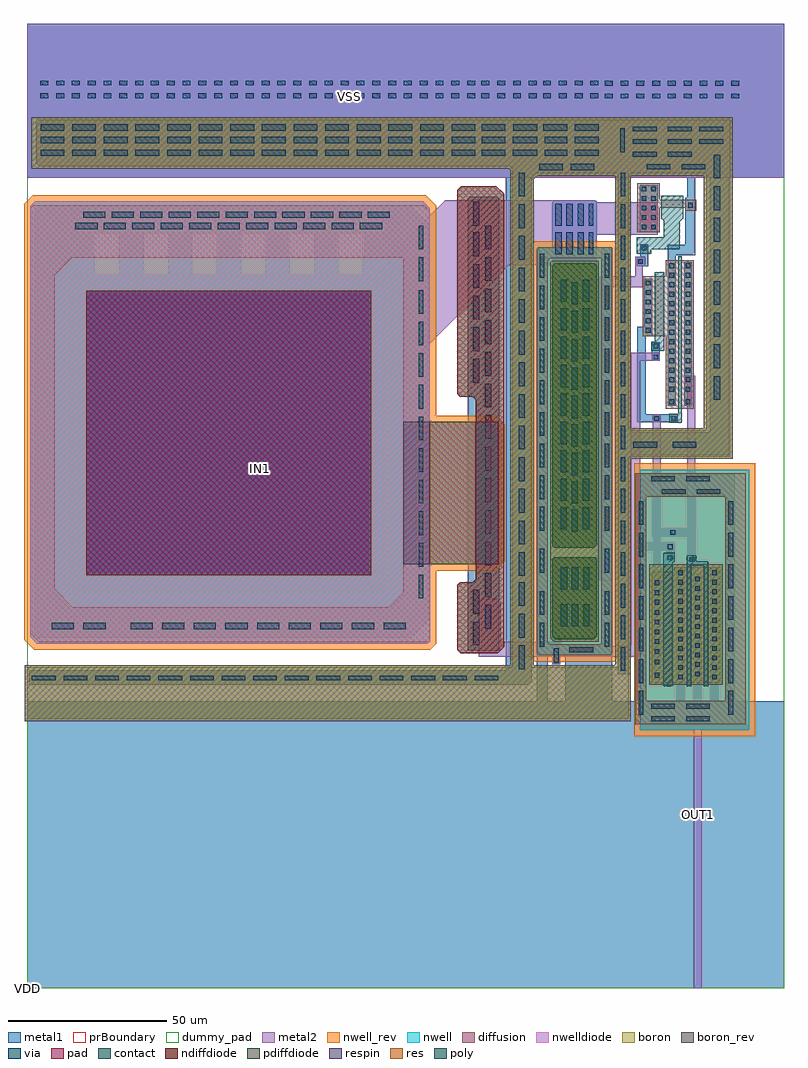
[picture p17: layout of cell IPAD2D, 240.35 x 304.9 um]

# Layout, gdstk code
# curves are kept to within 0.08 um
import gdstk
lib = gdstk.Library(unit=1e-6, precision=1e-09)
def R(c, l, rs):  # rectangles x0, y0, x1, y1
    for r in rs: c.add(gdstk.rectangle(r[:2], r[2:], *l))
def A(c, l, x, y, w, h, nx, ny, dx, dy):  # array of equal rectangles
    R(c, l, [(x+i*dx, y+j*dy, x+i*dx+w, y+j*dy+h) for i in range(nx) for j in range(ny)])
def P(c, l, *ps):  # polygons
    for p in ps: c.add(gdstk.Polygon(p, *l))
nwell = (1, 0)
diffusion = (2, 0)
nwell_rev = (3, 0)
poly = (4, 0)
boron = (5, 0)
boron_rev = (6, 0)
contact = (7, 0)
metal1 = (8, 0)
via = (9, 0)
metal2 = (10, 0)
pad = (11, 0)
prBoundary = (28, 0)
res = (35, 0)
respin = (36, 0)
pdiffdiode = (37, 0)
nwelldiode = (38, 0)
ndiffdiode = (39, 0)
dummy_pad = (40, 0)

ipad2d = lib.new_cell('IPAD2D')
R(ipad2d, nwell, [(194,81.7,228.35,163.95)])
P(ipad2d, nwell, [(161.5,105.25),(161.15,105.6),(161.15,233.95),(161.45,234.25),(185,234.25),(185.15,234.1),(185.15,105.6),(184.8,105.25)],
  [(3.15,108.95),(1.05,111.05),(1.05,247.25),(2.6,248.8),(125.25,248.8),(127.4,246.65),(127.4,179.652),(128.002,179.05),(147.45,179.05),(149.1,177.4),(149.1,135.7),(147.45,134.05),(128.058,134.05),(127.45,133.442),(127.45,109.75),(126.65,108.95)])
P(ipad2d, diffusion, [(0,85.15),(0,101.45),(153.45,101.45),(153.45,259.248),(152.848,259.85),(3.814,259.85),(2.85,260.814),(2.85,273.45),(4.05,274.65),(186.75,274.65),(186.75,257.65),(160.704,257.65),(159.55,256.496),(159.552,101.45),(186.295,101.45),(186.75,101.905),(186.75,274.65),(188.9,274.65),(190.25,273.3),(190.25,85.15)],
  [(3.95,109.3),(1.05,112.2),(1.05,246.563),(2.037,247.55),(119,247.55),(119,231),(14.214,231),(8.7,225.486),(8.7,126.204),(14.404,120.5),(114.449,120.5),(119,125.051),(119,247.55),(125.563,247.55),(127.35,245.763),(127.35,109.952),(126.698,109.3)],
  [(137.101,105.95),(136.1,106.951),(136.1,127.549),(136.951,128.4),(140.987,128.4),(141.85,129.263),(141.85,185.999),(140.849,187),(136.906,187),(136,187.906),(136,252.285),(137.365,253.65),(148.4,253.65),(150.9,251.15),(150.9,108.002),(148.848,105.95)],
  [(162.101,105.25),(161.15,106.201),(161.15,233.344),(162.056,234.25),(181.65,234.25),(181.65,230.75),(165.536,230.75),(164.65,229.864),(164.65,109.515),(165.415,108.75),(181.395,108.75),(181.65,109.005),(181.65,234.25),(184.95,234.25),(185.15,234.05),(185.15,106.052),(184.348,105.25)],
  [(192.4,83.4),(192.4,162.8),(220.8,162.8),(220.8,155.3),(195.9,155.3),(195.9,90.9),(220.8,90.9),(220.8,162.8),(227.3,162.8),(227.3,83.4)],
  [(197.5,96.6),(197.5,131.6),(204.7,131.6),(204.7,133.1),(219.2,133.1),(219.2,96.6)],
  [(167.105,110.25),(166.15,111.205),(166.15,135.6),(166.8,136.25),(179.65,136.25),(180.15,135.75),(180.15,111.15),(179.25,110.25)],
  [(193.05,238.95),(193.05,254.45),(200.1,254.45),(200.1,249.3),(211.6,249.3),(211.6,245.8),(208.1,245.8),(208.1,246.8),(200.1,246.8),(200.1,238.95)],
  [(166.752,139.25),(166.15,139.852),(166.15,228.35),(167.05,229.25),(179.448,229.25),(180.15,228.548),(180.15,140.156),(179.244,139.25)],
  [(190.25,168.05),(190.25,176.35),(214.75,176.35),(214.75,257.65),(182.35,257.65),(182.35,274.65),(222.45,274.65),(222.45,168.05)],
  [(201.95,183.15),(201.95,206.15),(194.75,206.15),(194.75,225.15),(201.95,225.15),(201.95,230.15),(210.8,230.15),(210.8,183.15)])
R(ipad2d, nwell_rev, [(192,79.7,230.35,165.95)])
P(ipad2d, nwell_rev, [(160.672,103.25),(159.15,104.772),(159.15,234.778),(160.622,236.25),(185.828,236.25),(187.15,234.928),(187.15,104.772),(185.628,103.25)],
  [(2.322,106.95),(-0.95,110.222),(-0.95,248.078),(1.772,250.8),(126.078,250.8),(129.4,247.478),(129.4,181.05),(148.278,181.05),(151.1,178.228),(151.1,134.872),(148.278,132.05),(129.45,132.05),(129.45,108.922),(127.478,106.95)])
P(ipad2d, poly, [(208.6,95.4),(208.6,136.95),(211.7,136.95),(211.7,135),(215.5,135),(215.5,95.4),(214,95.4),(214,133.6),(210.1,133.6),(210.1,95.4)],
  [(201.2,95.4),(201.2,137.6),(204.9,137.6),(204.9,134.7),(204.2,134.7),(204.2,95.4)],
  [(203.1,178.7),(203.1,181.6),(205.9,181.6),(205.9,231.4),(207.1,231.4),(207.1,178.7)],
  [(197.45,201.55),(197.45,204.45),(198.45,204.45),(198.45,226.4),(201.45,226.4),(201.45,201.55)],
  [(192.8,232.3),(192.8,237.5),(201.35,237.5),(201.35,242.7),(200.6,243.35),(200.6,250.5),(207.6,250.5),(207.6,243.35),(207.45,243.35),(206.45,242.35),(206.45,233.6),(197.45,233.6),(197.45,232.3)])
R(ipad2d, boron, [(196.8,95.9,220,133.95)])
P(ipad2d, boron, [(166.6,109.55),(165.45,110.7),(165.45,229.5),(165.9,229.95),(180.85,229.95),(180.85,109.55)],
  [(-0.7,84.45),(-0.7,102.15),(152.75,102.15),(152.75,258.6),(152.2,259.15),(1.4,259.15),(1.4,275.45),(186.05,275.45),(186.05,256.95),(161.451,256.95),(160.25,255.749),(160.25,102.15),(185.7,102.15),(186.05,102.5),(186.05,275.45),(190.95,275.45),(190.95,84.45)],
  [(189.55,167.35),(189.55,177.1),(214.05,177.1),(214.05,256.95),(179.9,256.95),(179.9,275.45),(223.2,275.45),(223.2,167.35)])
R(ipad2d, boron_rev, [(196.8,95.9,220,133.95)])
P(ipad2d, boron_rev, [(166.6,109.55),(165.45,110.7),(165.45,229.5),(165.9,229.95),(180.85,229.95),(180.85,109.55)],
  [(-0.7,84.45),(-0.7,102.15),(152.75,102.15),(152.75,258.6),(152.2,259.15),(1.4,259.15),(1.4,275.45),(186.05,275.45),(186.05,256.95),(161.451,256.95),(160.25,255.749),(160.25,102.15),(185.7,102.15),(186.05,102.5),(186.05,275.45),(190.95,275.45),(190.95,84.45)],
  [(189.55,167.35),(189.55,177.1),(214.05,177.1),(214.05,256.95),(179.9,256.95),(179.9,275.45),(223.2,275.45),(223.2,167.35)])
A(ipad2d, contact, 193.4, 86.45, 1.5, 7.5, 1, 7, 0, 10)
A(ipad2d, contact, 221.8, 86.45, 1.5, 7.5, 1, 7, 0, 10)
A(ipad2d, contact, 1.55, 97.3, 7.5, 1.5, 15, 1, 10, 0)
A(ipad2d, contact, 205.9, 97.6, 1.5, 1.5, 1, 12, 0, 3)
A(ipad2d, contact, 216.7, 97.6, 1.5, 1.5, 1, 12, 0, 3)
A(ipad2d, contact, 187.75, 100.35, 1.5, 7.5, 1, 16, 0, 10)
A(ipad2d, contact, 155.45, 100.85, 2, 7.5, 1, 3, 0, 10)
A(ipad2d, contact, 211.3, 110.6, 1.5, 1.5, 1, 7, 0, 3)
A(ipad2d, contact, 32.75, 113.55, 7, 2, 9, 1, 10, 0)
A(ipad2d, contact, 168.85, 114.4, 2, 7, 3, 2, 3.5, 11.75)
A(ipad2d, contact, 123.85, 123.25, 1.5, 7.5, 1, 10, 0, 10)
A(ipad2d, contact, 144.85, 123.65, 2, 7.5, 1, 12, 0, 10)
A(ipad2d, contact, 155.45, 130.35, 2, 7.5, 1, 13, 0, 10)
A(ipad2d, contact, 172.25, 144.25, 2, 7, 1, 9, 0, 9)
A(ipad2d, contact, 162.15, 144.65, 1.5, 7.5, 1, 9, 0, 10)
A(ipad2d, contact, 182.65, 144.65, 1.5, 7.5, 1, 9, 0, 10)
A(ipad2d, contact, 168.75, 145.05, 2, 7, 1, 9, 0, 9)
A(ipad2d, contact, 175.75, 145.05, 2, 7, 1, 9, 0, 9)
A(ipad2d, contact, 217.25, 186.05, 2, 7.5, 1, 8, 0, 10)
A(ipad2d, contact, 203.15, 188.65, 1.5, 1.5, 1, 14, 0, 3)
A(ipad2d, contact, 141.05, 191.45, 2, 7.5, 1, 5, 0, 10)
A(ipad2d, contact, 208.3, 194.65, 1.5, 1.5, 1, 12, 0, 3)
A(ipad2d, contact, 195.75, 207.25, 1.5, 1.5, 1, 6, 0, 3)
A(ipad2d, contact, 15.3, 240.05, 7, 2, 11, 1, 9, 0)
A(ipad2d, contact, 17.8, 243.55, 7, 2, 10, 1, 9, 0)
A(ipad2d, contact, 191.6, 262.95, 7.5, 1.5, 1, 3, 0, 4)
A(ipad2d, contact, 202.65, 262.95, 7.5, 1.5, 1, 3, 0, 4)
A(ipad2d, contact, 4.3, 263.15, 7.5, 2, 14, 3, 10, 4)
A(ipad2d, contact, 143.8, 263.15, 7.5, 2, 1, 3, 0, 4)
A(ipad2d, contact, 173.3, 263.15, 7.5, 2, 1, 3, 0, 4)
R(ipad2d, contact, [(197.4,84.4,204.9,85.9), (208.45,84.4,215.95,85.9), (197.4,88.4,204.9,89.9), (208.45,88.4,215.95,89.9), (198.5,98.2,200,99.7), (211.3,98.6,212.8,100.1), (211.3,101.6,212.8,103.1), (198.5,102.4,200,103.9), (198.5,105.65,200,107.15), (171.55,106.25,179.05,107.75), (162.15,108,163.65,115.5), (182.65,108,184.15,115.5), (141.05,108.4,143.05,115.9), (198.5,108.85,200,110.35), (198.5,111.85,200,113.35), (7.85,113.55,14.85,115.55), (17.85,113.55,24.85,115.55), (198.5,115.05,200,116.55), (162.15,118,163.65,125.5), (182.65,118,184.15,125.5), (198.5,118.05,200,119.55), (141.05,118.45,143.05,125.95), (198.5,121.25,200,122.75), (198.5,124.25,200,125.75), (198.5,127.45,200,128.95), (162.15,131.4,163.65,138.9), (209.5,134.75,211,136.25), (202.7,135.4,204.2,136.9), (200.75,156.3,208.25,157.8), (211.8,156.3,219.3,157.8), (197.4,160.3,204.9,161.8), (208.45,160.3,215.95,161.8), (191.75,170.8,199.25,172.8), (204.2,170.8,211.7,172.8), (203.8,179.4,205.3,180.9), (203.15,184.7,204.65,186.2), (208.3,184.7,209.8,186.2), (208.3,188.65,209.8,190.15), (198.15,202.25,199.65,203.75), (123.85,223.6,125.35,231.1), (194.45,233.3,195.95,234.8), (123.85,233.6,125.35,241.1), (141.05,241.15,143.05,248.65), (194.4,242.95,195.9,244.45), (197.4,242.95,198.9,244.45), (107.8,243.55,114.7,245.55), (209.1,246.8,210.6,248.3), (194.4,248.95,195.9,250.45), (197.4,248.95,198.9,250.45), (194.4,251.95,195.9,253.45), (197.4,251.95,198.9,253.45), (161.95,258.65,169.45,260.65), (171.95,258.65,179.45,260.65), (196,258.95,203.5,260.45), (207.05,258.95,214.55,260.45), (153.65,263.15,161.3,265.15), (163.8,263.15,170.8,265.15), (187.6,264.35,189.1,271.85), (212.65,266.95,220.15,268.45), (153.65,267.15,161.3,269.15), (163.8,267.15,170.8,269.15), (212.65,270.95,220.15,272.45), (153.8,271.15,161.3,273.15), (163.3,271.15,170.8,273.15)])
R(ipad2d, metal1, [(0,0,239.4,90.7), (0,0,239.4,90.7), (192.9,85.95,195.4,162.3), (205.4,87.6,207.9,132.6), (216.2,87.6,218.7,132.6), (210.8,98.1,213.3,131), (202.2,134.9,204.7,140.8), (207.8,184.15,210.3,229.65), (197.65,198.35,200.15,204.25), (193.75,239,199.4,253.95), (0,256.2,239.4,304.9), (0,256.2,239.4,304.9)])
P(ipad2d, metal1, [(0.75,95.85),(0.75,100.5),(151.35,100.5),(151.35,256.2),(0,256.2),(0,304.9),(239.4,304.9),(239.4,256.2),(190.95,256.2),(190.95,99.3),(190.85,99.2),(186.85,99.2),(186.75,99.3),(186.75,255.344),(185.894,256.2),(160.252,256.2),(159.55,255.498),(159.55,97.066),(158.334,95.85)],
  [(139.35,106.65),(139.35,249.685),(139.915,250.25),(148.548,250.25),(149.35,249.448),(149.35,106.65)],
  [(2.45,110.8),(1.75,111.5),(1.75,245.949),(3.351,247.55),(29.2,247.55),(29.2,238.55),(21.5,238.55),(21.5,225.55),(29.2,225.55),(29.2,247.55),(44.6,247.55),(44.6,238.55),(36.9,238.55),(36.9,225.55),(44.6,225.55),(44.6,247.55),(60,247.55),(60,238.55),(52.3,238.55),(52.3,225.55),(60,225.55),(60,247.55),(75.4,247.55),(75.4,238.55),(67.7,238.55),(67.7,225.55),(75.4,225.55),(75.4,247.55),(90.8,247.55),(90.8,238.55),(83.1,238.55),(83.1,225.55),(90.8,225.55),(90.8,247.55),(106.2,247.55),(106.2,238.55),(98.5,238.55),(98.5,225.55),(106.2,225.55),(106.2,247.55),(121.25,247.55),(127.4,241.4),(127.4,214),(127.3,214),(127.35,116.437),(121.713,110.8)],
  [(221.3,85.95),(221.3,155.8),(194.7,155.8),(194.7,162.3),(223.8,162.3),(223.8,85.95)],
  [(0,0),(0,90.7),(160.689,90.7),(161.15,91.161),(161.15,233.85),(161.55,234.25),(164.197,234.25),(164.65,233.797),(164.65,91.05),(165,90.7),(169.7,90.7),(170.15,91.15),(170.15,108.248),(170.652,108.75),(181.395,108.75),(181.65,109.005),(181.65,233.847),(182.053,234.25),(184.8,234.25),(185.15,233.9),(185.15,91.202),(185.652,90.7),(239.4,90.7),(239.4,0)],
  [(198,97.7),(198,145.3),(211.5,145.3),(211.5,134.25),(209,134.25),(209,142.8),(200.5,142.8),(200.5,97.7)],
  [(166.15,102.35),(166.15,135.394),(166.157,135.412),(166.237,135.531),(166.956,136.25),(179.348,136.25),(180.15,135.448),(180.15,111.27),(179.13,110.25),(169.601,110.25),(168.65,109.299),(168.65,102.35)],
  [(192.8,228.25),(192.8,231.35),(193.95,231.35),(193.95,235.3),(196.45,235.3),(196.45,228.25)],
  [(190.75,168.55),(190.75,175.85),(215.85,175.85),(215.85,281.4),(221.95,281.4),(221.95,168.55)],
  [(166.75,139.25),(166.15,139.85),(166.15,248.498),(166.802,249.15),(179.747,249.15),(180.115,248.782),(180.15,248.697),(180.15,140.156),(179.244,139.25)],
  [(192.95,178.9),(192.95,209.1),(195.25,209.1),(195.25,224.25),(197.75,224.25),(197.75,206.15),(195.75,206.15),(195.75,181.4),(205.8,181.4),(205.8,178.9)],
  [(202.65,184.15),(202.65,235),(208.1,235),(208.1,249.9),(208.75,249.9),(208.75,284.85),(211.3,284.85),(211.3,231.75),(205.15,231.75),(205.15,184.15)])
A(ipad2d, via, 182.7, 281.4, 2.5, 1.5, 9, 2, 5, 4)
A(ipad2d, via, 4.2, 281.45, 2.5, 1.5, 28, 2, 5, 4)
A(ipad2d, via, 143.7, 281.45, 2.5, 1.5, 4, 2, 5, 4)
A(ipad2d, via, 163.2, 281.45, 2.5, 1.5, 4, 2, 5, 4)
R(ipad2d, via, [(166.65,102.85,168.15,107.5), (211.3,104.6,212.8,106.1), (211.3,107.6,212.8,109.1), (144.85,113.65,146.85,121.15), (18.8,130.55,108.8,220.55), (182.65,131.4,184.15,138.9), (202.7,138.8,204.2,140.3), (203.45,143.3,204.95,144.8), (198.4,179.4,199.9,180.9), (208.3,191.65,209.8,193.15), (198.15,198.85,199.65,200.35), (193.3,229.05,194.8,230.55), (167.05,232.05,169.05,239.05), (170.6,232.05,172.6,239.05), (174.1,232.05,176.1,239.05), (177.6,232.05,179.1,239.05), (194.4,239.95,195.9,241.45), (197.4,239.95,198.9,241.45), (167.05,241.05,169.05,248.05), (170.6,241.05,172.6,248.05), (174.1,241.05,176.1,248.05), (177.6,241.05,179.1,248.05), (194.4,245.95,195.9,247.45), (197.4,245.95,198.9,247.45)])
R(ipad2d, metal2, [(210.85,0,213.35,9.3), (178.85,238.25,199.4,248.55), (0,256.2,239.4,304.9), (0,256.2,239.4,304.9)])
P(ipad2d, metal2, [(197.9,142.8),(197.9,181.4),(200.4,181.4),(200.4,145.3),(205.45,145.3),(205.45,142.8)],
  [(14.751,125.55),(13.8,126.501),(13.8,224.7),(14.65,225.55),(108.749,225.55),(132.15,248.951),(132.15,249.15),(179.547,249.15),(180.2,248.497),(180.2,229.8),(179,228.6),(152.298,228.6),(113.8,190.118),(113.8,126.352),(112.998,125.55)],
  [(210.85,9.3),(210.85,104.1),(208.8,104.1),(208.8,191.15),(207.8,191.15),(207.8,193.65),(211.3,193.65),(211.3,109.6),(213.35,109.6),(213.35,9.3)],
  [(166.15,102.35),(166.15,104.4),(165.7,104.85),(142.8,104.85),(142.8,121.749),(144.101,123.05),(148.499,123.05),(149.8,121.749),(149.8,109.55),(168.05,109.55),(169.202,108.3),(190.9,108.3),(190.9,200.85),(200.15,200.85),(200.15,198.35),(193.9,198.35),(193.9,140.8),(204.7,140.8),(204.7,138.3),(193.9,138.3),(193.9,104.75),(169,104.75),(168.65,104.4),(168.65,102.35)],
  [(180.95,128.85),(180.95,225.05),(192.3,225.05),(192.3,231.35),(195.5,231.35),(195.5,228.25),(194.8,228.25),(194.8,221.6),(185.15,221.6),(185.15,128.85)])
R(ipad2d, pad, [(18.8,130.55,108.8,220.55)])
R(ipad2d, prBoundary, [(0,0,239.4,304.9)])
R(ipad2d, res, [(127.35,134.05,141.85,179.05)])
R(ipad2d, respin, [(119,134.05,127.35,179.05), (141.85,134.05,149.1,179.05)])
P(ipad2d, pdiffdiode, [(167.105,110.25),(166.15,111.205),(166.15,135.6),(166.8,136.25),(179.65,136.25),(180.15,135.75),(180.15,111.15),(179.25,110.25)],
  [(166.752,139.25),(166.15,139.852),(166.15,228.35),(167.05,229.25),(179.448,229.25),(180.15,228.548),(180.15,140.156),(179.244,139.25)])
P(ipad2d, nwelldiode, [(3.15,108.95),(1.05,111.05),(1.05,247.25),(2.6,248.8),(125.25,248.8),(127.4,246.65),(127.4,179.652),(128.002,179.05),(147.45,179.05),(149.1,177.4),(149.1,135.7),(147.45,134.05),(128.058,134.05),(127.45,133.442),(127.45,109.75),(126.65,108.95)])
P(ipad2d, ndiffdiode, [(137.101,105.95),(136.1,106.951),(136.1,127.549),(136.951,128.4),(140.987,128.4),(141.85,129.263),(141.85,185.999),(140.849,187),(136.906,187),(136,187.906),(136,252.285),(137.365,253.65),(148.4,253.65),(150.9,251.15),(150.9,108.002),(148.848,105.95)])
R(ipad2d, dummy_pad, [(0,0,239.4,304.9)])
ipad2d.add(gdstk.Label('OUT1', (212.45,54.75), layer=10, texttype=7))
ipad2d.add(gdstk.Label('VSS', (102,281.801), layer=10, texttype=7))
ipad2d.add(gdstk.Label('IN1', (73.95,164.25), layer=10, texttype=7))
ipad2d.add(gdstk.Label('VDD', (0.001,0.001), layer=8, texttype=7))

lib.write_gds('IPAD2D.gds')
